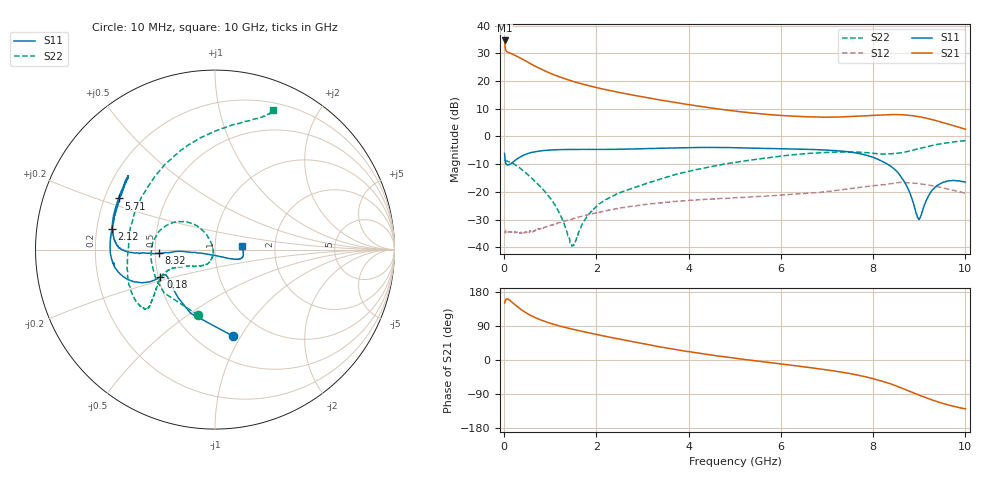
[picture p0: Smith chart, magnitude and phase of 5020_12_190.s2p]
# Hz S  dB  R 50
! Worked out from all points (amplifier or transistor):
!   1000 points, 10 MHz to 10 GHz, reference 50 ohm
!   highest |S21| = 34.7 dB at 10 MHz (marker M1)
!   |S21| within 3 dB of that: start of sweep to 27.21 MHz
!   unconditionally stable (mu >= 1): 48.69 MHz to end of sweep
!   at 1.67 GHz: K = 1.17, MAG = 21.5 dB, |S12| = -28.9 dB
!   at 5.01 GHz: K = 1.10, MAG = 13.7 dB, |S12| = -22.1 dB
!   at 10 GHz: K = 1.09, MAG = 9.7 dB, |S12| = -20.5 dB
!   S11 on the Smith chart (normalised r, x): 10 MHz: 0.73, -0.93; 180 MHz: 0.51, -0.18; 2.12 GHz: 0.26, +0.09; 5.71 GHz: 0.26, +0.23; 8.32 GHz: 0.52, -0.02; 10 GHz: 1.35, +0.05
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1e7  -6.12 -78.0  34.68 150.5  -34.44 36.9  -8.46 -104.2
7e7  -10.31 -149.4  30.52 161.1  -34.39 5.5  -8.95 -176.4
8e7  -10.27 -151.3  30.42 160.7  -34.42 8.2  -9.03 -179.2
1.1e8  -10.17 -153.2  30.22 158.6  -34.40 6.7  -9.14 174.0
1.8e8  -9.38 -153.5  29.74 151.6  -34.79 6.5  -9.64 162.6
2.9e8  -8.00 -153.6  28.87 140.2  -34.37 11.3  -10.80 150.3
4e8  -6.92 -155.9  27.87 130.3  -34.52 14.9  -12.18 140.7
5.6e8  -5.91 -160.4  26.37 118.5  -33.99 22.5  -14.47 130.4
7.5e8  -5.28 -165.5  24.72 107.8  -33.19 30.8  -17.52 123.9
9.1e8  -4.99 -169.1  23.47 100.6  -32.65 32.5  -20.41 119.8
1.12e9  -4.79 -173.4  22.03 92.6  -31.48 38.9  -25.32 118.6
1.47e9  -4.66 -179.8  20.03 81.6  -29.81 40.8  -39.60 179.9
1.68e9  -4.65 176.6  19.03 75.8  -28.85 41.8  -32.03 -115.2
2.12e9  -4.66 168.7  17.21 64.4  -27.16 39.9  -23.75 -112.1
3.34e9  -4.28 146.9  13.30 35.5  -24.01 27.1  -15.60 -146.1
5.01e9  -4.05 143.0  9.18 4.6  -22.06 10.0  -9.33 -152.6
5.71e9  -4.33 152.1  7.96 -6.1  -21.48 3.4  -7.71 -144.5
6.67e9  -4.67 168.4  7.06 -20.6  -20.38 -5.3  -6.07 -138.7
8.32e9  -10.05 -176.2  7.83 -60.6  -17.20 -36.4  -6.28 167.8
8.34e9  -10.25 -176.1  7.85 -61.4  -17.16 -37.0  -6.25 166.1
8.99e9  -29.99 -102.9  7.17 -92.3  -17.01 -65.5  -4.38 103.4
1e10  -16.50 7.1  2.64 -129.0  -20.45 -98.9  -1.48 67.5
